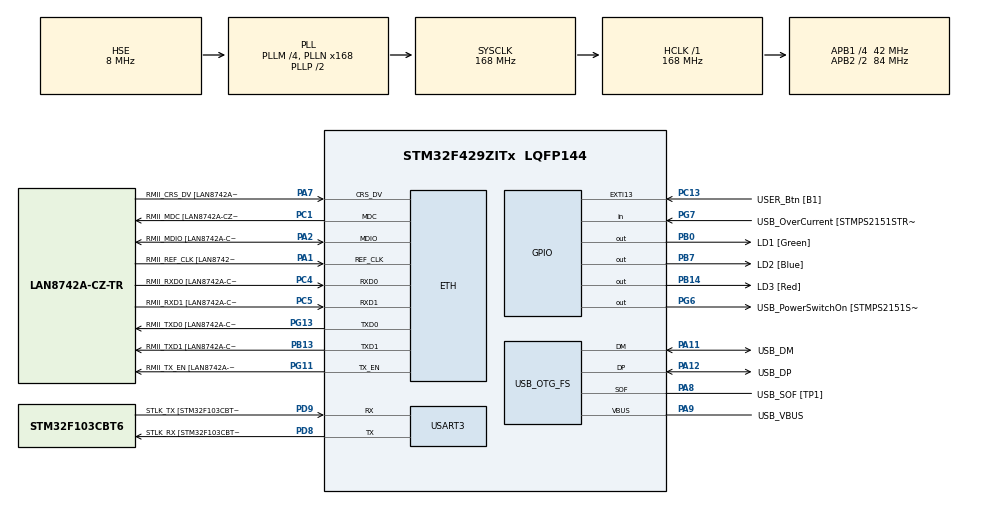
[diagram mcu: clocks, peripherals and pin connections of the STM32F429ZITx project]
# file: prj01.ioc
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ETH.MediaInterface=ETH_MEDIA_INTERFACE_RMII
ETH.PHY_Name=LAN8742A_PHY_ADDRESS
ETH.PHY_Value=0
ETH.PhyAddress=0
Mcu.Family=STM32F4
Mcu.Name=STM32F429ZITx
Mcu.Package=LQFP144
NVIC.PriorityGroup=NVIC_PRIORITYGROUP_4
PA1.GPIO_Label=RMII_REF_CLK [LAN8742A-CZ-TR_REFCLK0]
PA1.Mode=RMII
PA1.Signal=ETH_REF_CLK
PA10.GPIO_Label=USB_ID
PA10.Signal=USB_OTG_FS_ID
PA11.GPIO_Label=USB_DM
PA11.Mode=Device_Only
PA11.Signal=USB_OTG_FS_DM
PA12.GPIO_Label=USB_DP
PA12.Mode=Device_Only
PA12.Signal=USB_OTG_FS_DP
PA13.GPIO_Label=TMS
PA13.Mode=Serial_Wire
PA13.Signal=SYS_JTMS-SWDIO
PA14.GPIO_Label=TCK
PA14.Mode=Serial_Wire
PA14.Signal=SYS_JTCK-SWCLK
PA2.GPIO_Label=RMII_MDIO [LAN8742A-CZ-TR_MDIO]
PA2.Mode=RMII
PA2.Signal=ETH_MDIO
PA7.GPIO_Label=RMII_CRS_DV [LAN8742A-CZ-TR_CRS_DV]
PA7.Mode=RMII
PA7.Signal=ETH_CRS_DV
PA8.GPIO_Label=USB_SOF [TP1]
PA8.Mode=Activate_SOF_FS
PA8.Signal=USB_OTG_FS_SOF
PA9.GPIO_Label=USB_VBUS
PA9.Mode=Activate_VBUS
PA9.Signal=USB_OTG_FS_VBUS
PB0.GPIO_Label=LD1 [Green]
PB0.Signal=GPIO_Output
PB13.GPIO_Label=RMII_TXD1 [LAN8742A-CZ-TR_TXD1]
PB13.Mode=RMII
PB13.Signal=ETH_TXD1
PB14.GPIO_Label=LD3 [Red]
PB14.Signal=GPIO_Output
PB7.GPIO_Label=LD2 [Blue]
PB7.Signal=GPIO_Output
PC1.GPIO_Label=RMII_MDC [LAN8742A-CZ-TR_MDC]
PC1.Mode=RMII
PC1.Signal=ETH_MDC
PC13.GPIO_Label=USER_Btn [B1]
PC13.Signal=GPXTI13
PC14/OSC32_IN.Mode=LSE-External-Oscillator
PC14/OSC32_IN.Signal=RCC_OSC32_IN
PC15/OSC32_OUT.Mode=LSE-External-Oscillator
PC15/OSC32_OUT.Signal=RCC_OSC32_OUT
PC4.GPIO_Label=RMII_RXD0 [LAN8742A-CZ-TR_RXD0]
PC4.Mode=RMII
PC4.Signal=ETH_RXD0
PC5.GPIO_Label=RMII_RXD1 [LAN8742A-CZ-TR_RXD1]
PC5.Mode=RMII
PC5.Signal=ETH_RXD1
PD8.GPIO_Label=STLK_RX [STM32F103CBT6_PA3]
PD8.Mode=Asynchronous
PD8.Signal=USART3_TX
PD9.GPIO_Label=STLK_TX [STM32F103CBT6_PA2]
PD9.Mode=Asynchronous
PD9.Signal=USART3_RX
PG11.GPIO_Label=RMII_TX_EN [LAN8742A-CZ-TR_TXEN]
PG11.Mode=RMII
PG11.Signal=ETH_TX_EN
PG13.GPIO_Label=RMII_TXD0 [LAN8742A-CZ-TR_TXD0]
PG13.Mode=RMII
PG13.Signal=ETH_TXD0
PG6.GPIO_Label=USB_PowerSwitchOn [STMPS2151STR_EN]
PG6.Signal=GPIO_Output
PG7.GPIO_Label=USB_OverCurrent [STMPS2151STR_FAULT]
PG7.Signal=GPIO_Input
PH0/OSC_IN.GPIO_Label=MCO [STM32F103CBT6_PA8]
PH0/OSC_IN.Mode=HSE-External-Clock-Source
PH0/OSC_IN.Signal=RCC_OSC_IN
PH1/OSC_OUT.Mode=HSE-External-Clock-Source
PH1/OSC_OUT.Signal=RCC_OSC_OUT
ProjectManager.HeapSize=0x200
ProjectManager.StackSize=0x400
ProjectManager.TargetToolchain=MDK-ARM V5.32
RCC.48MHZClocksFreq_Value=48000000
RCC.AHBFreq_Value=168000000
RCC.APB1CLKDivider=RCC_HCLK_DIV4
RCC.APB1Freq_Value=42000000
RCC.APB1TimFreq_Value=84000000
RCC.APB2CLKDivider=RCC_HCLK_DIV2
RCC.APB2Freq_Value=84000000
RCC.APB2TimFreq_Value=168000000
RCC.CortexFreq_Value=168000000
RCC.HCLKFreq_Value=168000000
RCC.HSE_VALUE=8000000
RCC.HSI_VALUE=16000000
RCC.PLLM=4
RCC.PLLMUL=RCC_PLL_MUL9
RCC.PLLN=168
RCC.PLLQ=7
RCC.PRESCALERUSB=RCC_USBCLKSOURCE_PLL_DIV1_5
RCC.SYSCLKFreq_VALUE=168000000
RCC.SYSCLKSource=RCC_SYSCLKSOURCE_PLLCLK
RCC.SYSCLKSourceVirtual=RCC_SYSCLKSOURCE_PLLCLK
RCC.USBFreq_Value=48000000
RCC.VCOOutputFreq_Value=336000000
USART3.VirtualMode=VM_ASYNC
USB_OTG_FS.VirtualMode=Device_Only
board=NUCLEO-F429ZI

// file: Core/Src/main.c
/* USER CODE BEGIN Header */
/**
  ******************************************************************************
  * @file           : main.c
  * @brief          : Main program body
  ******************************************************************************
  * @attention
  *
  * Copyright (c) 2022 STMicroelectronics.
  * All rights reserved.
  *
  * This software is licensed under terms that can be found in the LICENSE file
  * in the root directory of this software component.
  * If no LICENSE file comes with this software, it is provided AS-IS.
  *
  ******************************************************************************
  */
/* USER CODE END Header */
#include "main.h"

ETH_HandleTypeDef heth;

UART_HandleTypeDef huart3;

PCD_HandleTypeDef hpcd_USB_OTG_FS;

void SystemClock_Config(void);
static void MX_GPIO_Init(void);
static void MX_ETH_Init(void);
static void MX_USART3_UART_Init(void);
static void MX_USB_OTG_FS_PCD_Init(void);

/* USER CODE BEGIN 0 */

enum {
	E_LED,
	E_XXX,
};

#define D_LED_MAX	3

typedef struct {
   uint32_t tickstart;
   uint32_t wait;
   GPIO_TypeDef *port;
   uint16_t pin;
//   void (*cbf)(void *);
} LED_T;

LED_T gLed[D_LED_MAX] = {
   { 0, 10, LD1_GPIO_Port, LD1_Pin },
   { 0, 50, LD2_GPIO_Port, LD2_Pin },
   { 0, 73, LD3_GPIO_Port, LD3_Pin },
};

void thread_led(LED_T *pLed)
{
   uint32_t tickcurr = HAL_GetTick();
   if (tickcurr - pLed->tickstart > pLed->wait) {
      pLed->tickstart = tickcurr;
      HAL_GPIO_TogglePin(pLed->port, pLed->pin);
   }
}

void app_Handler(uint32_t type, void *pArg)
{
	switch (type) {
		case E_LED : {
			LED_T *pLed = (LED_T *)pArg;
			thread_led(pLed);
		} break;

		case E_XXX : {
		} break;

		default : {
		}
	}
}

/* USER CODE END 0 */

int main(void)
{

  /* MCU Configuration--------------------------------------------------------*/

  /* Reset of all peripherals, Initializes the Flash interface and the Systick. */
  HAL_Init();

  /* Configure the system clock */
  SystemClock_Config();

  /* Initialize all configured peripherals */
  MX_GPIO_Init();
//  MX_ETH_Init();
  MX_USART3_UART_Init();
  MX_USB_OTG_FS_PCD_Init();

  /* Infinite loop */
  /* USER CODE BEGIN WHILE */
   int i;

	for (i=0; i<D_LED_MAX; i++) {
		app_Handler(E_LED, (void*)&gLed[i]);
	}

  while (1)
  {
		uint32_t tickcurr = HAL_GetTick();
		for (i=0; i<D_LED_MAX; i++) {
			if (tickcurr - gLed[i].tickstart > gLed[i].wait) {
				thread_led(&gLed[i]);
			}
		}
  }
}

void SystemClock_Config(void)
{
  RCC_OscInitTypeDef RCC_OscInitStruct = {0};
  RCC_ClkInitTypeDef RCC_ClkInitStruct = {0};

  /** Configure the main internal regulator output voltage
  */
  __HAL_RCC_PWR_CLK_ENABLE();
  __HAL_PWR_VOLTAGESCALING_CONFIG(PWR_REGULATOR_VOLTAGE_SCALE1);
  /** Initializes the RCC Oscillators according to the specified parameters
  * in the RCC_OscInitTypeDef structure.
  */
  RCC_OscInitStruct.OscillatorType = RCC_OSCILLATORTYPE_HSE;
  RCC_OscInitStruct.HSEState = RCC_HSE_BYPASS;
  RCC_OscInitStruct.PLL.PLLState = RCC_PLL_ON;
  RCC_OscInitStruct.PLL.PLLSource = RCC_PLLSOURCE_HSE;
  RCC_OscInitStruct.PLL.PLLM = 4;
  RCC_OscInitStruct.PLL.PLLN = 168;
  RCC_OscInitStruct.PLL.PLLP = RCC_PLLP_DIV2;
  RCC_OscInitStruct.PLL.PLLQ = 7;
  if (HAL_RCC_OscConfig(&RCC_OscInitStruct) != HAL_OK)
  {
    Error_Handler();
  }
  /** Initializes the CPU, AHB and APB buses clocks
  */
  RCC_ClkInitStruct.ClockType = RCC_CLOCKTYPE_HCLK|RCC_CLOCKTYPE_SYSCLK
                              |RCC_CLOCKTYPE_PCLK1|RCC_CLOCKTYPE_PCLK2;
  RCC_ClkInitStruct.SYSCLKSource = RCC_SYSCLKSOURCE_PLLCLK;
  RCC_ClkInitStruct.AHBCLKDivider = RCC_SYSCLK_DIV1;
  RCC_ClkInitStruct.APB1CLKDivider = RCC_HCLK_DIV4;
  RCC_ClkInitStruct.APB2CLKDivider = RCC_HCLK_DIV2;

  if (HAL_RCC_ClockConfig(&RCC_ClkInitStruct, FLASH_LATENCY_5) != HAL_OK)
  {
    Error_Handler();
  }
}

static void MX_ETH_Init(void)
{

   static uint8_t MACAddr[6];

  heth.Instance = ETH;
  heth.Init.AutoNegotiation = ETH_AUTONEGOTIATION_ENABLE;
  heth.Init.Speed = ETH_SPEED_100M;
  heth.Init.DuplexMode = ETH_MODE_FULLDUPLEX;
  heth.Init.PhyAddress = LAN8742A_PHY_ADDRESS;
  MACAddr[0] = 0x00;
  MACAddr[1] = 0x80;
  MACAddr[2] = 0xE1;
  MACAddr[3] = 0x00;
  MACAddr[4] = 0x00;
  MACAddr[5] = 0x00;
  heth.Init.MACAddr = &MACAddr[0];
  heth.Init.RxMode = ETH_RXPOLLING_MODE;
  heth.Init.ChecksumMode = ETH_CHECKSUM_BY_HARDWARE;
  heth.Init.MediaInterface = ETH_MEDIA_INTERFACE_RMII;

  if (HAL_ETH_Init(&heth) != HAL_OK)
  {
    Error_Handler();
  }

}

static void MX_USART3_UART_Init(void)
{

  huart3.Instance = USART3;
  huart3.Init.BaudRate = 115200;
  huart3.Init.WordLength = UART_WORDLENGTH_8B;
  huart3.Init.StopBits = UART_STOPBITS_1;
  huart3.Init.Parity = UART_PARITY_NONE;
  huart3.Init.Mode = UART_MODE_TX_RX;
  huart3.Init.HwFlowCtl = UART_HWCONTROL_NONE;
  huart3.Init.OverSampling = UART_OVERSAMPLING_16;
  if (HAL_UART_Init(&huart3) != HAL_OK)
  {
    Error_Handler();
  }

}

static void MX_USB_OTG_FS_PCD_Init(void)
{

  hpcd_USB_OTG_FS.Instance = USB_OTG_FS;
  hpcd_USB_OTG_FS.Init.dev_endpoints = 4;
  hpcd_USB_OTG_FS.Init.speed = PCD_SPEED_FULL;
  hpcd_USB_OTG_FS.Init.dma_enable = DISABLE;
  hpcd_USB_OTG_FS.Init.phy_itface = PCD_PHY_EMBEDDED;
  hpcd_USB_OTG_FS.Init.Sof_enable = ENABLE;
  hpcd_USB_OTG_FS.Init.low_power_enable = DISABLE;
  hpcd_USB_OTG_FS.Init.lpm_enable = DISABLE;
  hpcd_USB_OTG_FS.Init.vbus_sensing_enable = ENABLE;
  hpcd_USB_OTG_FS.Init.use_dedicated_ep1 = DISABLE;
  if (HAL_PCD_Init(&hpcd_USB_OTG_FS) != HAL_OK)
  {
    Error_Handler();
  }

}

static void MX_GPIO_Init(void)
{
  GPIO_InitTypeDef GPIO_InitStruct = {0};

  /* GPIO Ports Clock Enable */
  __HAL_RCC_GPIOC_CLK_ENABLE();
  __HAL_RCC_GPIOH_CLK_ENABLE();
  __HAL_RCC_GPIOA_CLK_ENABLE();
  __HAL_RCC_GPIOB_CLK_ENABLE();
  __HAL_RCC_GPIOD_CLK_ENABLE();
  __HAL_RCC_GPIOG_CLK_ENABLE();

  /*Configure GPIO pin Output Level */
  HAL_GPIO_WritePin(GPIOB, LD1_Pin|LD3_Pin|LD2_Pin, GPIO_PIN_RESET);

  /*Configure GPIO pin Output Level */
  HAL_GPIO_WritePin(USB_PowerSwitchOn_GPIO_Port, USB_PowerSwitchOn_Pin, GPIO_PIN_RESET);

  /*Configure GPIO pin : USER_Btn_Pin */
  GPIO_InitStruct.Pin = USER_Btn_Pin;
  GPIO_InitStruct.Mode = GPIO_MODE_IT_RISING;
  GPIO_InitStruct.Pull = GPIO_NOPULL;
  HAL_GPIO_Init(USER_Btn_GPIO_Port, &GPIO_InitStruct);

  /*Configure GPIO pins : LD1_Pin LD3_Pin LD2_Pin */
  GPIO_InitStruct.Pin = LD1_Pin|LD3_Pin|LD2_Pin;
  GPIO_InitStruct.Mode = GPIO_MODE_OUTPUT_PP;
  GPIO_InitStruct.Pull = GPIO_NOPULL;
  GPIO_InitStruct.Speed = GPIO_SPEED_FREQ_LOW;
  HAL_GPIO_Init(GPIOB, &GPIO_InitStruct);

  /*Configure GPIO pin : USB_PowerSwitchOn_Pin */
  GPIO_InitStruct.Pin = USB_PowerSwitchOn_Pin;
  GPIO_InitStruct.Mode = GPIO_MODE_OUTPUT_PP;
  GPIO_InitStruct.Pull = GPIO_NOPULL;
  GPIO_InitStruct.Speed = GPIO_SPEED_FREQ_LOW;
  HAL_GPIO_Init(USB_PowerSwitchOn_GPIO_Port, &GPIO_InitStruct);

  /*Configure GPIO pin : USB_OverCurrent_Pin */
  GPIO_InitStruct.Pin = USB_OverCurrent_Pin;
  GPIO_InitStruct.Mode = GPIO_MODE_INPUT;
  GPIO_InitStruct.Pull = GPIO_NOPULL;
  HAL_GPIO_Init(USB_OverCurrent_GPIO_Port, &GPIO_InitStruct);

}

void Error_Handler(void)
{
  __disable_irq();
  while (1)
  {
  }
}
